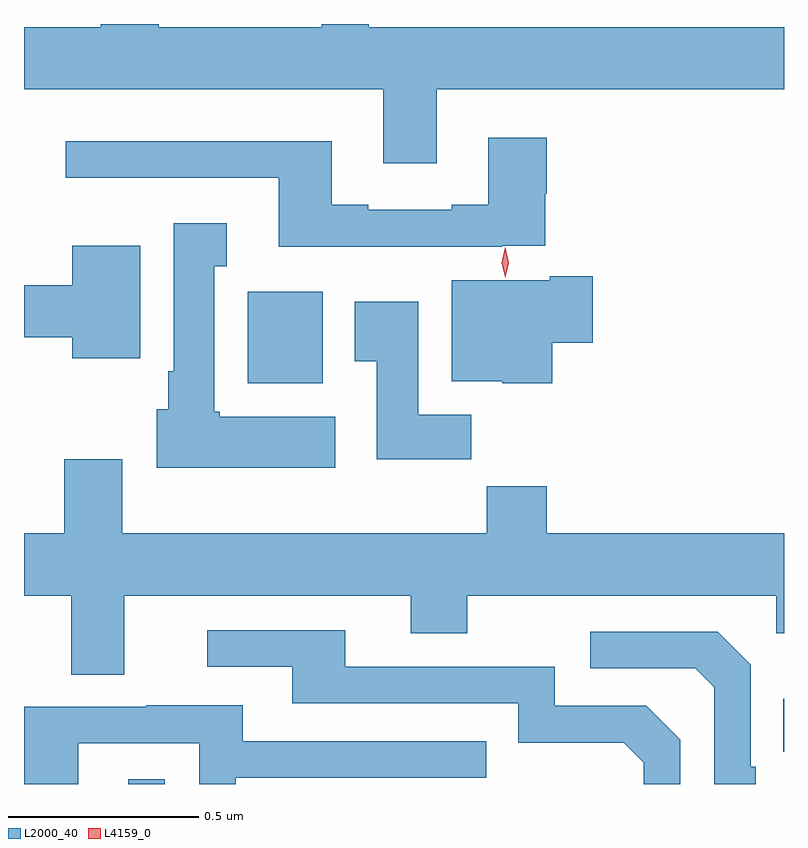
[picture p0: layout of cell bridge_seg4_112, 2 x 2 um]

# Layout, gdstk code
import gdstk
lib = gdstk.Library(unit=1e-6, precision=1e-09)
def R(c, l, rs):  # rectangles x0, y0, x1, y1
    for r in rs: c.add(gdstk.rectangle(r[:2], r[2:], *l))
def P(c, l, *ps):  # polygons
    for p in ps: c.add(gdstk.Polygon(p, *l))
L2000_40 = (2000, 40)
L4159_0 = (4159, 0)

bridge_seg4_112 = lib.new_cell('bridge_seg4_112')
R(bridge_seg4_112, L2000_40, [(627.473,773.68,627.57,773.692), (629.197,773.765,629.199,773.905), (627.788,774.734,627.985,774.976)])
P(bridge_seg4_112, L2000_40, [(628.285,775.508),(629.199,775.508),(629.199,775.672),(628.106,775.672),(628.106,775.68),(627.983,775.68),(627.983,775.672),(627.553,775.672),(627.553,775.68),(627.401,775.68),(627.401,775.672),(627.199,775.672),(627.199,775.508),(628.145,775.508),(628.145,775.314),(628.285,775.314)],
  [(628.457,775.096),(628.571,775.096),(628.571,775.233),(628.574,775.233),(628.574,775.381),(628.421,775.381),(628.421,775.204),(628.325,775.204),(628.325,775.191),(628.105,775.191),(628.105,775.204),(628.009,775.204),(628.009,775.372),(627.309,775.372),(627.309,775.275),(627.869,775.275),(627.869,775.094),(628.457,775.094)],
  [(628.018,774.646),(627.714,774.646),(627.714,774.66),(627.7,774.66),(627.7,775.043),(627.733,775.043),(627.733,775.156),(627.593,775.156),(627.593,774.766),(627.578,774.766),(627.578,774.666),(627.548,774.666),(627.548,774.512),(628.018,774.512)],
  [(627.505,775.096),(627.326,775.096),(627.326,774.992),(627.199,774.992),(627.199,774.856),(627.326,774.856),(627.326,774.8),(627.505,774.8)],
  [(628.589,774.841),(628.696,774.841),(628.696,775.016),(628.583,775.016),(628.583,775.006),(628.325,775.006),(628.325,774.74),(628.458,774.74),(628.458,774.734),(628.589,774.734)],
  [(628.376,774.652),(628.237,774.652),(628.237,774.949),(628.07,774.949),(628.07,774.793),(628.127,774.793),(628.127,774.534),(628.376,774.534)],
  [(627.463,774.176),(628.217,774.176),(628.217,774.077),(628.365,774.077),(628.365,774.176),(629.178,774.176),(629.178,774.077),(629.199,774.077),(629.199,774.34),(628.574,774.34),(628.574,774.464),(628.417,774.464),(628.417,774.34),(627.457,774.34),(627.457,774.535),(627.305,774.535),(627.305,774.34),(627.199,774.34),(627.199,774.176),(627.323,774.176),(627.323,773.968),(627.463,773.968)],
  [(628.926,773.796),(628.836,773.886),(628.596,773.886),(628.596,773.988),(628.045,773.988),(628.045,774.084),(627.681,774.084),(627.681,773.988),(627.905,773.988),(627.905,773.892),(628.5,773.892),(628.5,773.789),(628.777,773.789),(628.83,773.736),(628.83,773.68),(628.926,773.68)],
  [(629.125,773.725),(629.112,773.725),(629.112,773.994),(629.025,774.081),(628.689,774.081),(628.689,773.985),(628.965,773.985),(629.016,773.934),(629.016,773.68),(629.125,773.68)],
  [(627.342,773.787),(627.66,773.787),(627.66,773.68),(627.756,773.68),(627.756,773.697),(628.415,773.697),(628.415,773.793),(627.775,773.793),(627.775,773.887),(627.521,773.887),(627.521,773.883),(627.199,773.883),(627.199,773.68),(627.342,773.68)])
P(bridge_seg4_112, L4159_0, [(628.465,775.012),(628.465,775.013),(628.456,775.052),(628.466,775.092),(628.466,775.092),(628.466,775.092),(628.475,775.052),(628.465,775.013)])

lib.write_gds('bridge_seg4_112.gds')
